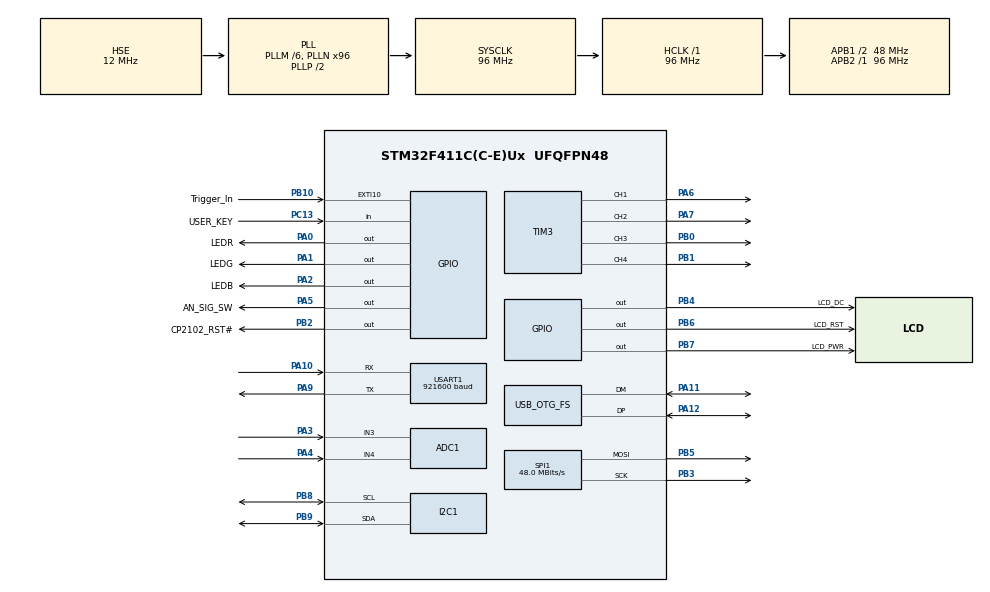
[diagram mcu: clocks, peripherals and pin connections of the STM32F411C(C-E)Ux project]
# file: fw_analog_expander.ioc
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ADC1.Channel-1\#ChannelRegularConversion=ADC_CHANNEL_3
ADC1.Channel-2\#ChannelRegularConversion=ADC_CHANNEL_4
ADC1.Channel-3\#ChannelRegularConversion=ADC_CHANNEL_TEMPSENSOR
ADC1.ContinuousConvMode=ENABLE
ADC1.InjNumberOfConversion=0
ADC1.NbrOfConversion=3
ADC1.NbrOfConversionFlag=1
ADC1.Rank-1\#ChannelRegularConversion=1
ADC1.Rank-2\#ChannelRegularConversion=2
ADC1.Rank-3\#ChannelRegularConversion=3
ADC1.SamplingTime-1\#ChannelRegularConversion=ADC_SAMPLETIME_28CYCLES
ADC1.SamplingTime-2\#ChannelRegularConversion=ADC_SAMPLETIME_28CYCLES
ADC1.SamplingTime-3\#ChannelRegularConversion=ADC_SAMPLETIME_28CYCLES
ADC1.master=1
FREERTOS.INCLUDE_eTaskGetState=1
FREERTOS.Tasks01=defaultTask,0,128,StartDefaultTask,Default,NULL,Dynamic,NULL,NULL
FREERTOS.configTICK_RATE_HZ=100
FREERTOS.configTOTAL_HEAP_SIZE=30720
FREERTOS.configUSE_NEWLIB_REENTRANT=1
Mcu.Family=STM32F4
Mcu.Name=STM32F411C(C-E)Ux
Mcu.Package=UFQFPN48
NVIC.ADC_IRQn=true\:5\:0\:false\:false\:true\:true\:true\:true
NVIC.OTG_FS_IRQn=true\:5\:0\:false\:false\:true\:true\:false\:true
NVIC.PriorityGroup=NVIC_PRIORITYGROUP_4
NVIC.TIM1_TRG_COM_TIM11_IRQn=true\:15\:0\:false\:false\:true\:false\:false\:true
NVIC.TIM3_IRQn=true\:5\:0\:false\:false\:true\:true\:true\:true
NVIC.TIM4_IRQn=true\:5\:0\:false\:false\:true\:true\:true\:true
NVIC.TimeBase=TIM1_TRG_COM_TIM11_IRQn
NVIC.TimeBaseIP=TIM11
NVIC.USART1_IRQn=true\:5\:0\:false\:false\:true\:true\:true\:true
PA0-WKUP.GPIO_Label=LEDR
PA0-WKUP.Signal=GPIO_Output
PA0-WKUP.Stacked=true
PA1.GPIO_Label=LEDG
PA1.Signal=GPIO_Output
PA1.Stacked=true
PA10.Mode=Asynchronous
PA10.Signal=USART1_RX
PA10.Stacked=true
PA11.Mode=Device_Only
PA11.Signal=USB_OTG_FS_DM
PA11.Stacked=true
PA12.Mode=Device_Only
PA12.Signal=USB_OTG_FS_DP
PA12.Stacked=true
PA13.Mode=Serial_Wire
PA13.Signal=SYS_JTMS-SWDIO
PA14.Mode=Serial_Wire
PA14.Signal=SYS_JTCK-SWCLK
PA2.GPIO_Label=LEDB
PA2.Signal=GPIO_Output
PA2.Stacked=true
PA3.Signal=ADCx_IN3
PA3.Stacked=true
PA4.Signal=ADCx_IN4
PA4.Stacked=true
PA5.GPIO_Label=AN_SIG_SW
PA5.Signal=GPIO_Output
PA6.Signal=S_TIM3_CH1
PA7.Signal=S_TIM3_CH2
PA9.Mode=Asynchronous
PA9.Signal=USART1_TX
PA9.Stacked=true
PB0.Signal=S_TIM3_CH3
PB1.Signal=S_TIM3_CH4
PB10.GPIO_Label=Trigger_In
PB10.Signal=GPXTI10
PB2.GPIO_Label=CP2102_RST\#
PB2.Signal=GPIO_Output
PB3.Mode=TX_Only_Simplex_Unidirect_Master
PB3.Signal=SPI1_SCK
PB3.Stacked=true
PB4.GPIO_Label=LCD_DC
PB4.Signal=GPIO_Output
PB4.Stacked=true
PB5.Mode=TX_Only_Simplex_Unidirect_Master
PB5.Signal=SPI1_MOSI
PB5.Stacked=true
PB6.GPIO_Label=LCD_RST
PB6.Signal=GPIO_Output
PB6.Stacked=true
PB7.GPIO_Label=LCD_PWR
PB7.Signal=GPIO_Output
PB7.Stacked=true
PB8.Mode=I2C
PB8.Signal=I2C1_SCL
PB9.Mode=I2C
PB9.Signal=I2C1_SDA
PC13-ANTI_TAMP.GPIO_Label=USER_KEY
PC13-ANTI_TAMP.Signal=GPIO_Input
PC13-ANTI_TAMP.Stacked=true
PH0\ -\ OSC_IN.Mode=HSE-External-Oscillator
PH0\ -\ OSC_IN.Signal=RCC_OSC_IN
PH1\ -\ OSC_OUT.Mode=HSE-External-Oscillator
PH1\ -\ OSC_OUT.Signal=RCC_OSC_OUT
ProjectManager.HeapSize=0x400
ProjectManager.StackSize=0x800
ProjectManager.TargetToolchain=STM32CubeIDE
RCC.48MHZClocksFreq_Value=48000000
RCC.AHBFreq_Value=96000000
RCC.APB1CLKDivider=RCC_HCLK_DIV2
RCC.APB1Freq_Value=48000000
RCC.APB1TimFreq_Value=96000000
RCC.APB2Freq_Value=96000000
RCC.APB2TimFreq_Value=96000000
RCC.CortexFreq_Value=96000000
RCC.HCLKFreq_Value=96000000
RCC.HSE_VALUE=12000000
RCC.HSI_VALUE=16000000
RCC.LSE_VALUE=32768
RCC.PLLM=6
RCC.PLLN=96
RCC.SYSCLKFreq_VALUE=96000000
RCC.SYSCLKSource=RCC_SYSCLKSOURCE_PLLCLK
RCC.VCOOutputFreq_Value=192000000
SH.ADCx_IN3.0=ADC1_IN3,IN3
SH.ADCx_IN4.0=ADC1_IN4,IN4
SH.S_TIM3_CH1.0=TIM3_CH1,PWM Generation1 CH1
SH.S_TIM3_CH2.0=TIM3_CH2,PWM Generation2 CH2
SH.S_TIM3_CH3.0=TIM3_CH3,PWM Generation3 CH3
SH.S_TIM3_CH4.0=TIM3_CH4,PWM Generation4 CH4
SPI1.BaudRatePrescaler=SPI_BAUDRATEPRESCALER_2
SPI1.CLKPhase=SPI_PHASE_2EDGE
SPI1.CLKPolarity=SPI_POLARITY_HIGH
SPI1.CalculateBaudRate=48.0 MBits/s
SPI1.Direction=SPI_DIRECTION_2LINES
SPI1.Mode=SPI_MODE_MASTER
SPI1.VirtualType=VM_MASTER
TIM3.Channel-PWM\ Generation1\ CH1=TIM_CHANNEL_1
TIM3.Channel-PWM\ Generation2\ CH2=TIM_CHANNEL_2
TIM3.Channel-PWM\ Generation3\ CH3=TIM_CHANNEL_3
TIM3.Channel-PWM\ Generation4\ CH4=TIM_CHANNEL_4
TIM4.Period=50-1
TIM4.Prescaler=96-1
USART1.BaudRate=921600
USART1.VirtualMode=VM_ASYNC
USB_DEVICE.CLASS_NAME_FS=CDC
USB_DEVICE.VirtualMode=Cdc
USB_DEVICE.VirtualModeFS=Cdc_FS
USB_OTG_FS.VirtualMode=Device_Only
VP_ADC1_TempSens_Input.Mode=IN-TempSens
VP_FREERTOS_VS_CMSIS_V1.Mode=CMSIS_V1
VP_SYS_VS_tim11.Mode=TIM11
VP_TIM4_VS_ClockSourceINT.Mode=Internal
VP_USB_DEVICE_VS_USB_DEVICE_CDC_FS.Mode=CDC_FS
board=custom

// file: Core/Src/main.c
/* USER CODE BEGIN Header */
/**
  ******************************************************************************
  * @file           : main.c
  * @brief          : Main program body
  ******************************************************************************
  * @attention
  *
  * <h2><center>&copy; Copyright (c) 2022 STMicroelectronics.
  * All rights reserved.</center></h2>
  *
  * This software component is licensed by ST under Ultimate Liberty license
  * SLA0044, the "License"; You may not use this file except in compliance with
  * the License. You may obtain a copy of the License at:
  *                             www.st.com/SLA0044
  *
  ******************************************************************************
  */
/* USER CODE END Header */
#include "main.h"
#include "cmsis_os.h"
#include "adc.h"
#include "i2c.h"
#include "spi.h"
#include "tim.h"
#include "usart.h"
#include "usb_device.h"
#include "gpio.h"

void SystemClock_Config(void);
void MX_FREERTOS_Init(void);

int main(void)
{

  /* MCU Configuration--------------------------------------------------------*/

  /* Reset of all peripherals, Initializes the Flash interface and the Systick. */
  HAL_Init();

  /* Configure the system clock */
  SystemClock_Config();

  /* Initialize all configured peripherals */
  MX_GPIO_Init();
  MX_ADC1_Init();
  MX_I2C1_Init();
  MX_SPI1_Init();
  MX_TIM3_Init();
  MX_USART1_UART_Init();
  MX_TIM4_Init();

  /* Call init function for freertos objects (in freertos.c) */
  MX_FREERTOS_Init();
  /* Start scheduler */
  osKernelStart();

  /* We should never get here as control is now taken by the scheduler */
  /* Infinite loop */
  while (1)
  {

  }
}

void SystemClock_Config(void)
{
  RCC_OscInitTypeDef RCC_OscInitStruct = {0};
  RCC_ClkInitTypeDef RCC_ClkInitStruct = {0};

  /** Configure the main internal regulator output voltage
  */
  __HAL_RCC_PWR_CLK_ENABLE();
  __HAL_PWR_VOLTAGESCALING_CONFIG(PWR_REGULATOR_VOLTAGE_SCALE1);
  /** Initializes the RCC Oscillators according to the specified parameters
  * in the RCC_OscInitTypeDef structure.
  */
  RCC_OscInitStruct.OscillatorType = RCC_OSCILLATORTYPE_HSE;
  RCC_OscInitStruct.HSEState = RCC_HSE_ON;
  RCC_OscInitStruct.PLL.PLLState = RCC_PLL_ON;
  RCC_OscInitStruct.PLL.PLLSource = RCC_PLLSOURCE_HSE;
  RCC_OscInitStruct.PLL.PLLM = 6;
  RCC_OscInitStruct.PLL.PLLN = 96;
  RCC_OscInitStruct.PLL.PLLP = RCC_PLLP_DIV2;
  RCC_OscInitStruct.PLL.PLLQ = 4;
  if (HAL_RCC_OscConfig(&RCC_OscInitStruct) != HAL_OK)
  {
    Error_Handler();
  }
  /** Initializes the CPU, AHB and APB buses clocks
  */
  RCC_ClkInitStruct.ClockType = RCC_CLOCKTYPE_HCLK|RCC_CLOCKTYPE_SYSCLK
                              |RCC_CLOCKTYPE_PCLK1|RCC_CLOCKTYPE_PCLK2;
  RCC_ClkInitStruct.SYSCLKSource = RCC_SYSCLKSOURCE_PLLCLK;
  RCC_ClkInitStruct.AHBCLKDivider = RCC_SYSCLK_DIV1;
  RCC_ClkInitStruct.APB1CLKDivider = RCC_HCLK_DIV2;
  RCC_ClkInitStruct.APB2CLKDivider = RCC_HCLK_DIV1;

  if (HAL_RCC_ClockConfig(&RCC_ClkInitStruct, FLASH_LATENCY_3) != HAL_OK)
  {
    Error_Handler();
  }
}

void HAL_TIM_PeriodElapsedCallback(TIM_HandleTypeDef *htim)
{
  if (htim->Instance == TIM11) {
    HAL_IncTick();
  }
}

void Error_Handler(void)
{
  __disable_irq();
  while (1)
  {
  }
}

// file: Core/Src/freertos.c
/* USER CODE BEGIN Header */
/**
  ******************************************************************************
  * File Name          : freertos.c
  * Description        : Code for freertos applications
  ******************************************************************************
  * @attention
  *
  * <h2><center>&copy; Copyright (c) 2022 STMicroelectronics.
  * All rights reserved.</center></h2>
  *
  * This software component is licensed by ST under Ultimate Liberty license
  * SLA0044, the "License"; You may not use this file except in compliance with
  * the License. You may obtain a copy of the License at:
  *                             www.st.com/SLA0044
  *
  ******************************************************************************
  */
/* USER CODE END Header */

#include "FreeRTOS.h"
#include "task.h"
#include "main.h"
#include "cmsis_os.h"

/* USER CODE BEGIN Includes */
/* USER CODE BEGIN Includes */
#include "string.h"
#include "tftlcd.h"
#include "usbd_cdc_if.h"
#include "mb.h"
#include "fifo.h"
/* USER CODE END Includes */

/* USER CODE BEGIN Variables */

CdcRxBuff_TypeDef     vcpRxBuff;;
uint8_t               vpcTxBuff[MAX_FIFO_SIZE];

osThreadId            vcpMbRxTaskHandle;
osThreadId            vcpMbTxTaskHandle;
osThreadId            vcpMbTxPollTaskHandle;
osThreadId            mbTaskHandle;

/* USER CODE END Variables */
osThreadId            defaultTaskHandle;

/* USER CODE BEGIN FunctionPrototypes */

void StartVcpMbRxTask(void const * argument);
void StartVcpMbTxTask(void const * argument);
void StartVcpTxPollTask(void const * argument);
void StartMbTask(void const * argument);

/* USER CODE END FunctionPrototypes */

void StartDefaultTask(void const * argument);

extern void MX_USB_DEVICE_Init(void);
void MX_FREERTOS_Init(void); /* (MISRA C 2004 rule 8.1) */

/* GetIdleTaskMemory prototype (linked to static allocation support) */
void vApplicationGetIdleTaskMemory( StaticTask_t **ppxIdleTaskTCBBuffer, StackType_t **ppxIdleTaskStackBuffer, uint32_t *pulIdleTaskStackSize );

/* USER CODE BEGIN GET_IDLE_TASK_MEMORY */
static StaticTask_t xIdleTaskTCBBuffer;
static StackType_t xIdleStack[configMINIMAL_STACK_SIZE];

void vApplicationGetIdleTaskMemory( StaticTask_t **ppxIdleTaskTCBBuffer, StackType_t **ppxIdleTaskStackBuffer, uint32_t *pulIdleTaskStackSize )
{
  *ppxIdleTaskTCBBuffer = &xIdleTaskTCBBuffer;
  *ppxIdleTaskStackBuffer = &xIdleStack[0];
  *pulIdleTaskStackSize = configMINIMAL_STACK_SIZE;
  /* place for user code */
}
/* USER CODE END GET_IDLE_TASK_MEMORY */

void MX_FREERTOS_Init(void) {

  /* Create the thread(s) */
  /* definition and creation of defaultTask */
  osThreadDef(defaultTask, StartDefaultTask, osPriorityNormal, 0, 256);
  defaultTaskHandle = osThreadCreate(osThread(defaultTask), NULL);

  /* USER CODE BEGIN RTOS_THREADS */

  osThreadDef (modbusPollingTask, StartMbTask, osPriorityNormal, 0, 256);
  mbTaskHandle = osThreadCreate(osThread(modbusPollingTask), NULL);

  // create the vcp received data process task.
  osThreadDef(vcpDataRecvTask, StartVcpMbRxTask, osPriorityNormal, 0, 256);
  vcpMbRxTaskHandle = osThreadCreate(osThread(vcpDataRecvTask), NULL);

  osThreadDef(vcpDataSendTask, StartVcpMbTxTask, osPriorityNormal, 0, 256);
  vcpMbTxTaskHandle = osThreadCreate(osThread(vcpDataSendTask), NULL);

  osThreadDef(vcpTxPollTask, StartVcpTxPollTask, osPriorityNormal, 0, 256);
  vcpMbTxPollTaskHandle = osThreadCreate(osThread(vcpTxPollTask), NULL);
  osThreadSuspend(vcpMbTxPollTaskHandle);

  InitVcpRTOSObjects();

  // create the MODBUS protocol stack task.
  eMBInit(MB_RTU, 0X01, 1, 115200, MB_PAR_NONE);
  eMBEnable();

  /* USER CODE END RTOS_THREADS */

}

void StartDefaultTask(void const * argument)
{
  /* init code for USB_DEVICE */
  MX_USB_DEVICE_Init();
  /* USER CODE BEGIN StartDefaultTask */

  // turn off the 3-color-led.
	HAL_GPIO_WritePin(LEDB_GPIO_Port, LEDB_Pin, GPIO_PIN_SET);
	HAL_GPIO_WritePin(LEDG_GPIO_Port, LEDG_Pin, GPIO_PIN_SET);

  // initialize the TFT LCD
	LCD_Init();
	LCD_Clear(RED);

  /* Infinite loop */
  for(;;)
  {
		HAL_GPIO_TogglePin(LEDR_GPIO_Port, LEDR_Pin);
    osDelay(1000);
  }
  /* USER CODE END StartDefaultTask */
}

/* USER CODE BEGIN Application */

/**
 * @brief The task to connect the VCP RX data and the modbus protocol stack.
 *
 * @param argument
 */
void StartVcpMbRxTask(void const * argument)
{
  // start to poll the VCP RX packages.
  for(;;)
  {
    osEvent evt = osMessageGet(cdcRxMsgHandle, osWaitForever);

    if(evt.status == osEventMessage && evt.value.p != NULL)
    {

      HAL_GPIO_TogglePin(LEDG_GPIO_Port, LEDG_Pin);

      // get the address of the pool
      uint32_t pPool = (uint32_t)evt.value.p;

      // copy the data to the temporary memory.
      memcpy((uint8_t*)&vcpRxBuff, (uint8_t*)pPool, sizeof(CdcRxBuff_TypeDef));

      // free the pool.
      osPoolFree(cdcRxPoolhandle, (void*)pPool);

      // push the data to the fifo.
      for(int i = 0; i < vcpRxBuff.Length; i++)
      {
        fifo_put(hVcpRxFifo, vcpRxBuff.bufCdcRx[i]);
        pxMBFrameCBByteReceived();
      }
    }
  }
}

/**
 * @brief The task to transmit the Modbus frame via VCP.
 *
 * @param argument
 */
void StartVcpMbTxTask(void const * argument)
{
  for(;;)
  {
    osEvent evt = osSignalWait(0x1, osWaitForever);
    if(evt.status == osEventSignal)
    {
      if((evt.value.signals & 0x1) > 0)
      {
        osThreadSuspend(vcpMbRxTaskHandle);
        osThreadSuspend(vcpMbTxPollTaskHandle);
        osThreadSuspend(mbTaskHandle);

        int fifoLen = fifo_len(hVcpTxFifo);
        fifo_out(hVcpTxFifo, vpcTxBuff, fifoLen);

        extern USBD_HandleTypeDef hUsbDeviceFS;
        USBD_CDC_HandleTypeDef *hcdc = (USBD_CDC_HandleTypeDef*)hUsbDeviceFS.pClassData;
        CDC_Transmit_FS(vpcTxBuff, fifoLen);
        while(hcdc->TxState != 0);

        osThreadResume(vcpMbRxTaskHandle);
        osThreadResume(mbTaskHandle);

      }
    }
  }

}

void StartVcpTxPollTask(void const * argument)
{
  for(;;)
  {
    pxMBFrameCBTransmitterEmpty();
  }
}

/**
 * @brief The task to run the modbus protocol stack.
 *
 * @param argument
 */
void StartMbTask(void const * argument)
{
	for(;;)
	{
		eMBPoll();
		//osDelay(100);
	}

}

/* USER CODE END Application */
